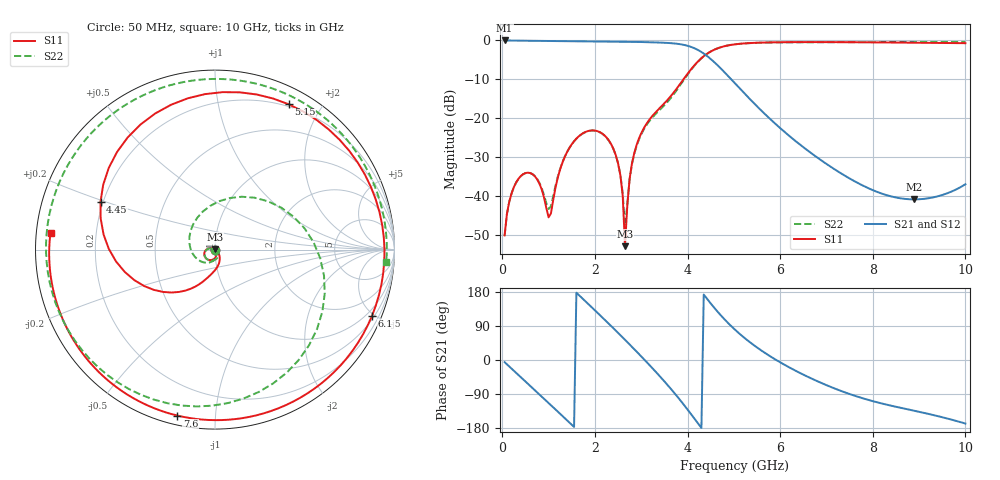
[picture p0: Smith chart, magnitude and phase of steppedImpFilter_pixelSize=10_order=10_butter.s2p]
! freq	dB(S11)	phase(S11)	dB(S12)	phase(S12)
!  dB(S21)	phase(S21)	dB(S22)	phase(S22)
!S-par simulation data
#  GHz  S  DB  R 50
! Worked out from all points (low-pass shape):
!   200 points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, 50 MHz to 10 GHz, reference 50 ohm
!   highest |S21| = -0.01 dB at 50 MHz (marker M1); lowest = -40.8 dB at 8.9 GHz (marker M2)
!   |S21| within 3 dB of the highest: start of sweep to 4.304 GHz
!   lowest |S11| = -52.9 dB at 2.65 GHz (marker M3), VSWR 1.00, Z = 50 + j0.227 ohm
!   |S11| at or under -10 dB: start of sweep to 3.912 GHz
!   |S22| runs from -50.2 to -0.4 dB; largest |S21 - S12| = 0
!   S11 on the Smith chart (normalised r, x): 50 MHz: 1.00, -0.01; 4.45 GHz: 0.19, +0.19; 5.15 GHz: 0.18, +1.61; 6.1 GHz: 0.66, -4.88; 7.6 GHz: 0.04, -0.80; 10 GHz: 0.04, +0.05
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0.05  -50.08 -88.2  -0.01 -5.8  -0.01 -5.8  -50.19 -89.6
0.35  -35.52 -125.2  -0.06 -39.8  -0.06 -39.8  -35.56 -132.3
0.85  -38.24 -167.6  -0.12 -96.4  -0.12 -96.4  -37.90 147.6
1  -45.44 -130.4  -0.13 -113.5  -0.13 -113.5  -43.32 78.4
1.35  -29.89 -76.0  -0.18 -153.6  -0.18 -153.6  -29.84 -50.2
1.75  -23.79 -115.4  -0.24 160.2  -0.24 160.2  -23.83 -104.9
2.45  -29.46 166.9  -0.32 77.7  -0.32 77.7  -29.47 169.5
2.6  -39.76 144.7  -0.33 59.4  -0.33 59.4  -39.27 162.5
2.65  -52.85 94.0  -0.34 53.3  -0.34 53.3  -47.80 -157.7
2.85  -28.93 -50.3  -0.37 28.5  -0.37 28.5  -29.16 -78.1
3.4  -17.38 -97.6  -0.55 -42.7  -0.55 -42.7  -17.85 -171.7
3.85  -11.02 -125.8  -0.98 -107.2  -0.98 -107.2  -11.34 84.9
4.15  -6.37 -159.2  -2.02 -154.9  -2.02 -154.9  -6.48 22.8
4.45  -3.21 157.3  -4.26 157.0  -4.26 157.0  -3.21 -30.0
5.05  -0.96 74.9  -11.35 77.2  -11.35 77.2  -0.96 -107.1
5.15  -0.84 63.2  -12.61 66.4  -12.61 66.4  -0.84 -116.9
6.1  -0.45 -22.8  -23.55 -13.0  -23.55 -13.0  -0.51 171.4
6.7  -0.42 -60.2  -29.21 -50.2  -29.21 -50.2  -0.48 136.5
7.6  -0.46 -102.9  -36.13 -94.0  -36.13 -94.0  -0.44 90.9
8.35  -0.53 -131.5  -39.92 -119.3  -39.92 -119.3  -0.40 57.5
8.9  -0.59 -150.4  -40.83 -134.0  -40.83 -134.0  -0.38 35.2
10  -0.71 174.1  -36.95 -167.7  -36.95 -167.7  -0.38 -4.1
